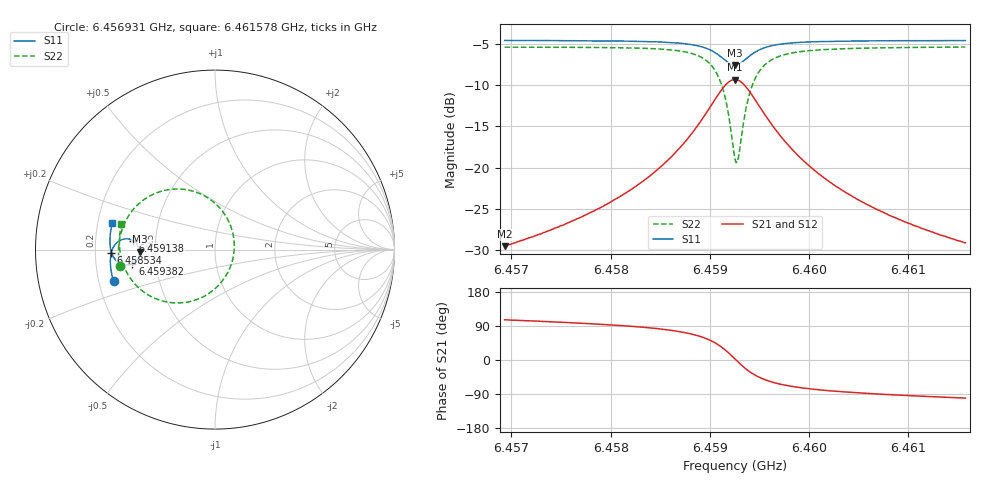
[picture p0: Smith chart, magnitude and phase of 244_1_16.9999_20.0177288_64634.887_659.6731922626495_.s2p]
#  HZ  S  RI  R  50.00
! Rohde & Schwarz Vector Network Analyzer
! Rohde-Schwarz,ZNB20-2Port,1311601062101988,3.16
! Created: UTC 3/20/2024, 11:02:59 PM
! freq[Hz]  re:S11  im:S11  re:S21  im:S21  re:S12  im:S12  re:S22  im:S22
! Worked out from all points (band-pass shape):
!   401 points, 6.456931 GHz to 6.461578 GHz, reference 50 ohm
!   highest |S21| = -9.29 dB at 6.459254 GHz (marker M1); lowest = -29.5 dB at 6.456931 GHz (marker M2)
!   |S21| within 3 dB of the highest: 6.459022 GHz to 6.459486 GHz (464.5 kHz wide, 0.00719 % of centre)
!   lowest |S11| = -7.5 dB at 6.459254 GHz (marker M3), VSWR 2.44, Z = 20.5 - j0.614 ohm
!   |S11| at or under -10 dB: nowhere
!   |S22| runs from -19.4 to -5.3 dB; largest |S21 - S12| = 0.013
!   S11 on the Smith chart (normalised r, x): 6.456931 GHz: 0.26, -0.14; 6.458534 GHz: 0.27, -0.01; 6.459138 GHz: 0.37, +0.05; 6.459382 GHz: 0.37, -0.07; 6.461578 GHz: 0.26, +0.12
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6.4569306e9  -0.5653 -0.1767  -0.00912 0.0321  -0.00743 0.0321  -0.5309 -0.093
6.457709e9  -0.5799 -0.1089  -0.00607 0.0498  -0.0035 0.0494  -0.5375 -0.00223
6.4581504e9  -0.5832 -0.0648  -0.000124 0.07  0.00333 0.0687  -0.5297 0.0676
6.4584873e9  -0.5798 -0.0245  0.0133 0.098  0.0173 0.0955  -0.5056 0.1433
6.4585338e9  -0.5782 -0.0184  0.0166 0.1035  0.0206 0.1006  -0.4994 0.1564
6.4587429e9  -0.5663 0.0137  0.0425 0.1352  0.0466 0.1306  -0.4513 0.2282
6.4588939e9  -0.5451 0.0399  0.0845 0.1656  0.088 0.1592  -0.3735 0.2927
6.4590449e9  -0.4994 0.0599  0.176 0.185  0.177 0.1777  -0.2067 0.3376
6.4591379e9  -0.4551 0.0499  0.2656 0.1544  0.2658 0.1485  -0.0408 0.2888
6.4591843e9  -0.434 0.0313  0.3091 0.112  0.3103 0.1069  0.0419 0.2133
6.4592541e9  -0.4191 -0.0124  0.3426 0.0159  0.3462 0.00896  0.1072 0.035
6.4592657e9  -0.4196 -0.0204  0.3425 -0.00169  0.3463 -0.00924  0.1072 0.00181
6.4592889e9  -0.423 -0.0359  0.3372 -0.0361  0.3409 -0.0451  0.0964 -0.0635
6.4593818e9  -0.4603 -0.0779  0.2674 -0.1367  0.2666 -0.1497  -0.0441 -0.2507
6.4594283e9  -0.4829 -0.0847  0.2235 -0.1591  0.2197 -0.1718  -0.1324 -0.2878
6.4594864e9  -0.5079 -0.0841  0.1745 -0.1687  0.168 -0.1797  -0.229 -0.2969
6.4596374e9  -0.5489 -0.0624  0.0919 -0.1528  0.0835 -0.1587  -0.3859 -0.2441
6.4598001e9  -0.5692 -0.0349  0.0496 -0.1254  0.0422 -0.1281  -0.4617 -0.1736
6.4600324e9  -0.5811 -0.00127  0.0226 -0.0962  0.0168 -0.0969  -0.5062 -0.0964
6.4603809e9  -0.5857 0.0399  0.00659 -0.0698  0.00254 -0.0693  -0.5282 -0.0174
6.4608108e9  -0.5838 0.083  -0.00109 -0.0513  -0.00409 -0.0506  -0.5326 0.0507
6.4615775e9  -0.5716 0.1508  -0.00635 -0.0343  -0.00797 -0.0334  -0.5216 0.1411
